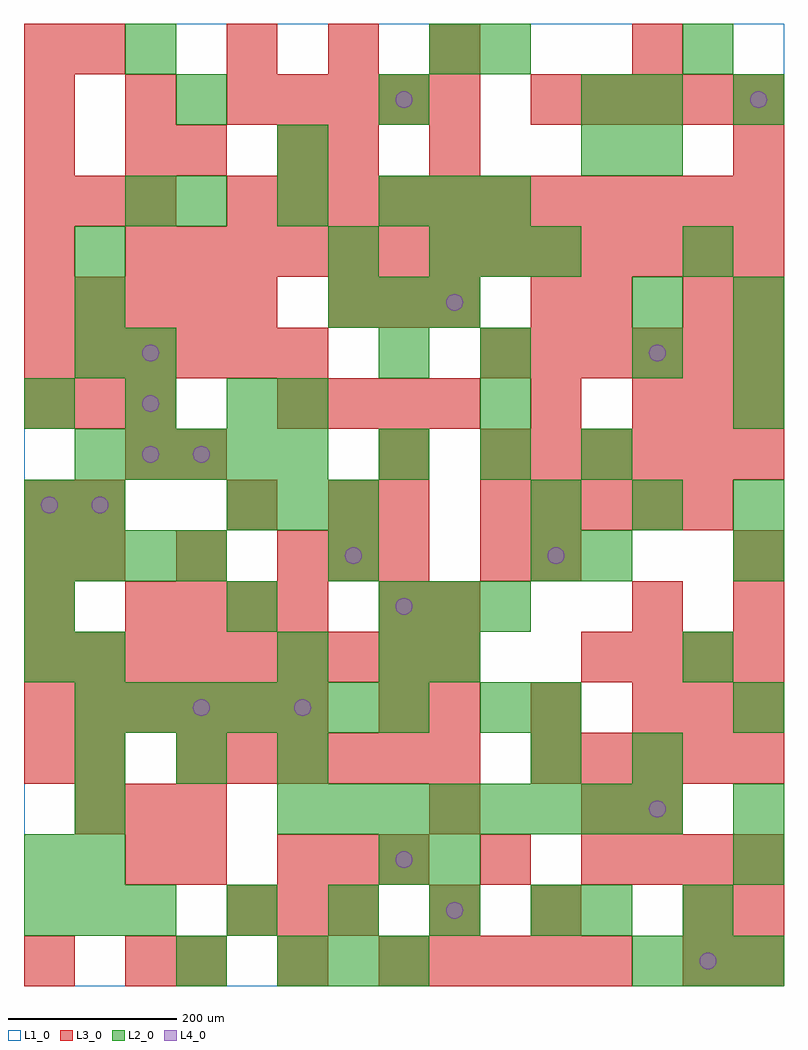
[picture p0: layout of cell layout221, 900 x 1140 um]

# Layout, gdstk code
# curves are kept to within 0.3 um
import gdstk
lib = gdstk.Library(unit=1e-6, precision=1e-09)
def R(c, l, rs):  # rectangles x0, y0, x1, y1
    for r in rs: c.add(gdstk.rectangle(r[:2], r[2:], *l))
def A(c, l, x, y, w, h, nx, ny, dx, dy):  # array of equal rectangles
    R(c, l, [(x+i*dx, y+j*dy, x+i*dx+w, y+j*dy+h) for i in range(nx) for j in range(ny)])
def P(c, l, *ps):  # polygons
    for p in ps: c.add(gdstk.Polygon(p, *l))
L1_0 = (1, 0)
L2_0 = (2, 0)
L3_0 = (3, 0)
L4_0 = (4, 0)

layout221 = lib.new_cell('layout221')
R(layout221, L1_0, [(0,0,900,1140)])
A(layout221, L2_0, 300, 0, 60, 60, 3, 1, 60, 0)
A(layout221, L2_0, 720, 0, 60, 60, 3, 1, 60, 0)
A(layout221, L2_0, 0, 60, 60, 60, 3, 1, 60, 0)
A(layout221, L2_0, 240, 60, 60, 60, 4, 1, 120, 0)
A(layout221, L2_0, 60, 180, 60, 60, 1, 4, 0, 180)
A(layout221, L2_0, 300, 180, 60, 60, 8, 1, 60, 0)
A(layout221, L2_0, 60, 240, 60, 60, 3, 1, 120, 0)
A(layout221, L2_0, 60, 300, 60, 60, 7, 1, 60, 0)
A(layout221, L2_0, 840, 300, 60, 60, 1, 3, 0, 180)
A(layout221, L2_0, 300, 360, 60, 60, 1, 3, 0, 300)
A(layout221, L2_0, 420, 420, 60, 60, 3, 1, 60, 0)
A(layout221, L2_0, 0, 480, 60, 60, 4, 1, 60, 0)
A(layout221, L2_0, 240, 540, 60, 60, 3, 1, 60, 0)
A(layout221, L2_0, 600, 540, 60, 60, 3, 1, 120, 0)
A(layout221, L2_0, 60, 600, 60, 60, 5, 1, 60, 0)
A(layout221, L2_0, 420, 600, 60, 60, 3, 1, 120, 0)
A(layout221, L2_0, 0, 660, 60, 60, 3, 1, 120, 0)
A(layout221, L2_0, 120, 720, 60, 60, 1, 3, 0, 180)
A(layout221, L2_0, 540, 720, 60, 60, 1, 3, 0, 180)
A(layout221, L2_0, 360, 780, 60, 60, 3, 1, 60, 0)
A(layout221, L2_0, 480, 840, 60, 60, 3, 1, 60, 0)
A(layout221, L2_0, 180, 900, 60, 60, 3, 1, 120, 0)
A(layout221, L2_0, 180, 1020, 60, 60, 3, 1, 240, 0)
R(layout221, L2_0, [(180,0,240,60), (660,60,720,120), (780,60,840,120), (0,120,60,180), (60,120,120,180), (420,120,480,180), (480,120,540,180), (840,120,900,180), (840,180,900,240), (600,240,660,300), (720,240,780,300), (540,300,600,360), (600,300,660,360), (0,360,60,420), (420,360,480,420), (480,360,540,420), (780,360,840,420), (0,420,60,480), (240,420,300,480), (360,480,420,540), (600,480,660,540), (660,480,720,540), (0,540,60,600), (540,660,600,720), (420,720,480,780), (720,720,780,780), (840,720,900,780), (60,780,120,840), (720,780,780,840), (840,780,900,840), (60,840,120,900), (360,840,420,900), (780,840,840,900), (480,900,540,960), (660,960,720,1020), (720,960,780,1020), (720,1020,780,1080), (840,1020,900,1080), (480,1080,540,1140), (780,1080,840,1140)])
A(layout221, L3_0, 180, 0, 60, 60, 3, 1, 120, 0)
A(layout221, L3_0, 480, 0, 60, 60, 4, 1, 60, 0)
A(layout221, L3_0, 240, 60, 60, 60, 3, 1, 60, 0)
A(layout221, L3_0, 300, 120, 60, 60, 3, 1, 60, 0)
A(layout221, L3_0, 660, 120, 60, 60, 4, 2, 60, 240)
A(layout221, L3_0, 60, 180, 60, 60, 3, 1, 60, 0)
A(layout221, L3_0, 180, 240, 60, 60, 6, 1, 60, 0)
A(layout221, L3_0, 600, 240, 60, 60, 5, 2, 60, 780)
A(layout221, L3_0, 0, 300, 60, 60, 6, 2, 60, 420)
A(layout221, L3_0, 480, 300, 60, 60, 3, 1, 120, 0)
A(layout221, L3_0, 0, 360, 60, 60, 9, 1, 60, 0)
A(layout221, L3_0, 0, 420, 60, 60, 1, 3, 0, 60)
A(layout221, L3_0, 120, 420, 60, 60, 4, 1, 60, 0)
A(layout221, L3_0, 420, 420, 60, 60, 1, 4, 0, 60)
A(layout221, L3_0, 60, 480, 60, 60, 3, 1, 120, 0)
A(layout221, L3_0, 540, 540, 60, 60, 5, 1, 60, 0)
A(layout221, L3_0, 540, 600, 60, 60, 6, 2, 60, 120)
A(layout221, L3_0, 0, 660, 60, 60, 3, 2, 60, 240)
A(layout221, L3_0, 300, 660, 60, 60, 4, 2, 60, 360)
A(layout221, L3_0, 720, 660, 60, 60, 3, 1, 60, 0)
A(layout221, L3_0, 0, 780, 60, 60, 5, 1, 60, 0)
A(layout221, L3_0, 360, 780, 60, 60, 3, 1, 60, 0)
A(layout221, L3_0, 0, 840, 60, 60, 1, 3, 0, 120)
A(layout221, L3_0, 120, 840, 60, 60, 13, 1, 60, 0)
A(layout221, L3_0, 240, 900, 60, 60, 11, 1, 60, 0)
A(layout221, L3_0, 0, 1020, 60, 60, 3, 1, 120, 0)
A(layout221, L3_0, 240, 1080, 60, 60, 3, 1, 120, 0)
R(layout221, L3_0, [(0,0,60,60), (120,0,180,60), (780,0,840,60), (840,0,900,60), (480,60,540,120), (600,60,660,120), (780,60,840,120), (840,60,900,120), (120,120,180,180), (180,120,240,180), (540,120,600,180), (480,180,540,240), (660,180,720,240), (720,180,780,240), (0,240,60,300), (60,240,120,300), (420,300,480,360), (780,300,840,360), (840,300,900,360), (480,420,540,480), (720,420,780,480), (840,420,900,480), (360,480,420,540), (540,480,600,540), (600,480,660,540), (840,480,900,540), (60,540,120,600), (240,540,300,600), (360,540,420,600), (120,600,180,660), (180,600,240,660), (600,660,660,720), (600,780,660,840), (660,780,720,840), (780,780,840,840), (840,780,900,840), (120,960,180,1020), (180,960,240,1020), (300,960,360,1020), (360,960,420,1020), (480,960,540,1020), (840,960,900,1020), (60,1080,120,1140), (720,1080,780,1140)])
P(layout221, L4_0, [(40,570),(39.239,573.827),(37.071,577.071),(33.827,579.239),(30,580),(26.173,579.239),(22.929,577.071),(20.761,573.827),(20,570),(20.761,566.173),(22.929,562.929),(26.173,560.761),(30,560),(33.827,560.761),(37.071,562.929),(39.239,566.173)],
  [(100,570),(99.239,573.827),(97.071,577.071),(93.827,579.239),(90,580),(86.173,579.239),(82.929,577.071),(80.761,573.827),(80,570),(80.761,566.173),(82.929,562.929),(86.173,560.761),(90,560),(93.827,560.761),(97.071,562.929),(99.239,566.173)],
  [(160,630),(159.239,633.827),(157.071,637.071),(153.827,639.239),(150,640),(146.173,639.239),(142.929,637.071),(140.761,633.827),(140,630),(140.761,626.173),(142.929,622.929),(146.173,620.761),(150,620),(153.827,620.761),(157.071,622.929),(159.239,626.173)],
  [(160,690),(159.239,693.827),(157.071,697.071),(153.827,699.239),(150,700),(146.173,699.239),(142.929,697.071),(140.761,693.827),(140,690),(140.761,686.173),(142.929,682.929),(146.173,680.761),(150,680),(153.827,680.761),(157.071,682.929),(159.239,686.173)],
  [(160,750),(159.239,753.827),(157.071,757.071),(153.827,759.239),(150,760),(146.173,759.239),(142.929,757.071),(140.761,753.827),(140,750),(140.761,746.173),(142.929,742.929),(146.173,740.761),(150,740),(153.827,740.761),(157.071,742.929),(159.239,746.173)],
  [(220,330),(219.239,333.827),(217.071,337.071),(213.827,339.239),(210,340),(206.173,339.239),(202.929,337.071),(200.761,333.827),(200,330),(200.761,326.173),(202.929,322.929),(206.173,320.761),(210,320),(213.827,320.761),(217.071,322.929),(219.239,326.173)],
  [(220,630),(219.239,633.827),(217.071,637.071),(213.827,639.239),(210,640),(206.173,639.239),(202.929,637.071),(200.761,633.827),(200,630),(200.761,626.173),(202.929,622.929),(206.173,620.761),(210,620),(213.827,620.761),(217.071,622.929),(219.239,626.173)],
  [(340,330),(339.239,333.827),(337.071,337.071),(333.827,339.239),(330,340),(326.173,339.239),(322.929,337.071),(320.761,333.827),(320,330),(320.761,326.173),(322.929,322.929),(326.173,320.761),(330,320),(333.827,320.761),(337.071,322.929),(339.239,326.173)],
  [(400,510),(399.239,513.827),(397.071,517.071),(393.827,519.239),(390,520),(386.173,519.239),(382.929,517.071),(380.761,513.827),(380,510),(380.761,506.173),(382.929,502.929),(386.173,500.761),(390,500),(393.827,500.761),(397.071,502.929),(399.239,506.173)],
  [(460,150),(459.239,153.827),(457.071,157.071),(453.827,159.239),(450,160),(446.173,159.239),(442.929,157.071),(440.761,153.827),(440,150),(440.761,146.173),(442.929,142.929),(446.173,140.761),(450,140),(453.827,140.761),(457.071,142.929),(459.239,146.173)],
  [(460,450),(459.239,453.827),(457.071,457.071),(453.827,459.239),(450,460),(446.173,459.239),(442.929,457.071),(440.761,453.827),(440,450),(440.761,446.173),(442.929,442.929),(446.173,440.761),(450,440),(453.827,440.761),(457.071,442.929),(459.239,446.173)],
  [(460,1050),(459.239,1053.827),(457.071,1057.071),(453.827,1059.239),(450,1060),(446.173,1059.239),(442.929,1057.071),(440.761,1053.827),(440,1050),(440.761,1046.173),(442.929,1042.929),(446.173,1040.761),(450,1040),(453.827,1040.761),(457.071,1042.929),(459.239,1046.173)],
  [(520,90),(519.239,93.827),(517.071,97.071),(513.827,99.239),(510,100),(506.173,99.239),(502.929,97.071),(500.761,93.827),(500,90),(500.761,86.173),(502.929,82.929),(506.173,80.761),(510,80),(513.827,80.761),(517.071,82.929),(519.239,86.173)],
  [(520,810),(519.239,813.827),(517.071,817.071),(513.827,819.239),(510,820),(506.173,819.239),(502.929,817.071),(500.761,813.827),(500,810),(500.761,806.173),(502.929,802.929),(506.173,800.761),(510,800),(513.827,800.761),(517.071,802.929),(519.239,806.173)],
  [(640,510),(639.239,513.827),(637.071,517.071),(633.827,519.239),(630,520),(626.173,519.239),(622.929,517.071),(620.761,513.827),(620,510),(620.761,506.173),(622.929,502.929),(626.173,500.761),(630,500),(633.827,500.761),(637.071,502.929),(639.239,506.173)],
  [(760,210),(759.239,213.827),(757.071,217.071),(753.827,219.239),(750,220),(746.173,219.239),(742.929,217.071),(740.761,213.827),(740,210),(740.761,206.173),(742.929,202.929),(746.173,200.761),(750,200),(753.827,200.761),(757.071,202.929),(759.239,206.173)],
  [(760,750),(759.239,753.827),(757.071,757.071),(753.827,759.239),(750,760),(746.173,759.239),(742.929,757.071),(740.761,753.827),(740,750),(740.761,746.173),(742.929,742.929),(746.173,740.761),(750,740),(753.827,740.761),(757.071,742.929),(759.239,746.173)],
  [(820,30),(819.239,33.827),(817.071,37.071),(813.827,39.239),(810,40),(806.173,39.239),(802.929,37.071),(800.761,33.827),(800,30),(800.761,26.173),(802.929,22.929),(806.173,20.761),(810,20),(813.827,20.761),(817.071,22.929),(819.239,26.173)],
  [(880,1050),(879.239,1053.827),(877.071,1057.071),(873.827,1059.239),(870,1060),(866.173,1059.239),(862.929,1057.071),(860.761,1053.827),(860,1050),(860.761,1046.173),(862.929,1042.929),(866.173,1040.761),(870,1040),(873.827,1040.761),(877.071,1042.929),(879.239,1046.173)])

lib.write_gds('layout221.gds')
